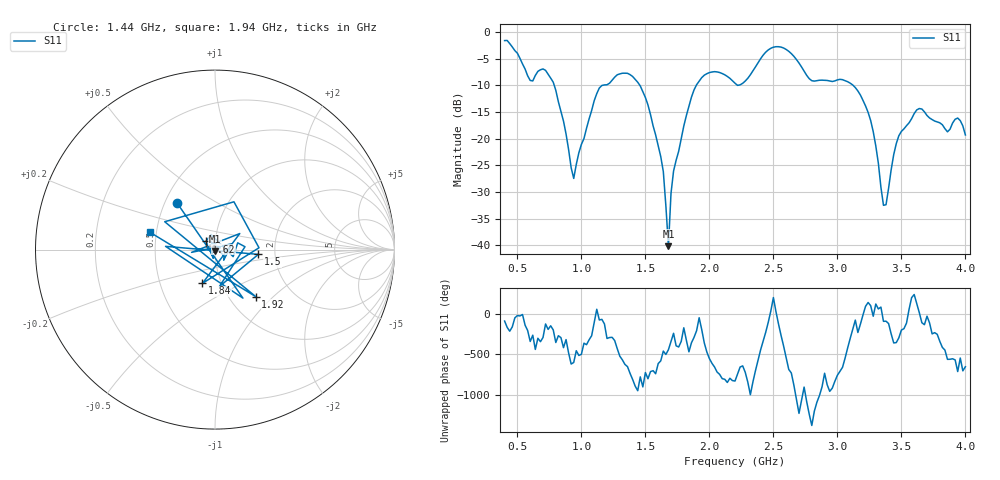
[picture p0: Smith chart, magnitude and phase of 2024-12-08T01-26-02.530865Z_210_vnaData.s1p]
!Created with skrf (http://scikit-rf.org).
# Hz S RI R 50.0
!freq ReS11 ImS11
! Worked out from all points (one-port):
!   181 points, 400 MHz to 4 GHz, reference 50 ohm
!   lowest |S11| = -40.2 dB at 1.68 GHz (marker M1), VSWR 1.02, Z = 50.1 - j0.978 ohm
!   |S11| at or under -10 dB: 787.6 MHz to 1.166 GHz (378.2 MHz wide, 38.7 % of centre); 1.457 GHz to 1.898 GHz (441.1 MHz wide, 26.3 % of centre); 3.123 GHz to end of sweep (the widest 3 of 4)
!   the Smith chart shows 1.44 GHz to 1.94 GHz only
!   S11 on the Smith chart (normalised r, x): 1.44 GHz: 0.58, +0.34; 1.5 GHz: 1.63, -0.09; 1.62 GHz: 0.90, +0.08; 1.84 GHz: 0.81, -0.32; 1.92 GHz: 1.32, -0.79; 1.94 GHz: 0.46, +0.10
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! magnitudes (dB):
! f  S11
! 400 MHz  -1.6
! 600 MHz  -9.1
! 720 MHz  -7.2
! 860 MHz  -16.7
! 940 MHz  -27.5
! 1.12 GHz  -11.6
! 1.3 GHz  -7.9
! 1.44 GHz  -9.4
! 1.5 GHz  -12.3
! 1.62 GHz  -23.4
! 1.64 GHz  -26.2
! 1.68 GHz  -40.2
! 1.7 GHz  -30.3
! 1.76 GHz  -22.4
! 1.84 GHz  -14.0
! 1.92 GHz  -9.2
! 1.94 GHz  -8.6
! 2.2 GHz  -9.6
! 2.48 GHz  -3.1
! 2.66 GHz  -4.6
! 2.8 GHz  -9.1
! 3.1 GHz  -9.6
! 3.26 GHz  -16.6
! 3.36 GHz  -32.5
! 3.46 GHz  -20.9
! 3.56 GHz  -17.0
! 3.66 GHz  -14.4
! 4 GHz  -19.3
